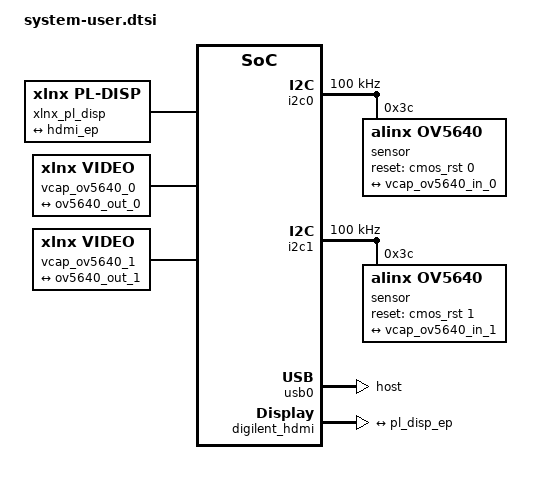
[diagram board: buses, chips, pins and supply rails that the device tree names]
/include/ "system-conf.dtsi"
/ {


};

&i2c0 {
	clock-frequency = <100000>;
	sensor@3c{
		compatible = "alinx,ov5640";
		reg = <0x3c>;
		#address-cells = <1>;
		#size-cells = <0>;
		reset-gpios = <&cmos_rst 0 0>;
		port@0 {
			reg = <0>;
			ov5640_out_0: endpoint {
				remote-endpoint = <&vcap_ov5640_in_0>;
			};
		};
	};
};

&i2c1 {
	clock-frequency = <100000>;
	sensor@3c{
		compatible = "alinx,ov5640";
		reg = <0x3c>;
		#address-cells = <1>;
		#size-cells = <0>;
		reset-gpios = <&cmos_rst 1 0>;
		port@0 {
			reg = <0>;
			ov5640_out_1: endpoint {
				remote-endpoint = <&vcap_ov5640_in_1>;
			};
		};
	};
};

&usb0 {	
	dr_mode = "host";

};


&amba_pl {

	digilent_hdmi {
		compatible = "ax_7511,drm-encoder";

		clocks = <&axi_dynclk_0>;
		clock-names = "clk";

		digilent,edid-i2c = <&i2c0>;
		digilent,fmax = <150000>;
		
		port@0 {
			#address-cells = <1>;
			#size-cells = <0>;

			hdmi_ep: endpoint {
				remote-endpoint = <&pl_disp_ep>;
			};
		};
	};
	
	xlnx_pl_disp {
		compatible = "xlnx,pl-disp";
		dmas = <&axi_vdma_0 0>;
		dma-names = "dma0";

		xlnx,vformat = "RG24";
		xlnx,bridge = <&v_tc_0>;

		port@0 {
			reg = <0>;
			pl_disp_ep: endpoint {
				remote-endpoint = <&hdmi_ep>;
			};
		};
	};

	vcap_ov5640_0 {
		compatible = "xlnx,video";
		dmas = <&axi_vdma_1 0>;
		dma-names = "port0";

		ports {
			#address-cells = <1>;
			#size-cells = <0>;

			port@0 {
				reg = <0>;
				direction = "input";
				vcap_ov5640_in_0: endpoint {
					remote-endpoint = <&ov5640_out_0>;
				};

			};
		};
	};

	vcap_ov5640_1 {
		compatible = "xlnx,video";
		dmas = <&axi_vdma_2 0>;
		dma-names = "port0";

		ports {
			#address-cells = <1>;
			#size-cells = <0>;

			port@0 {
				reg = <0>;
				direction = "input";
				vcap_ov5640_in_1: endpoint {
					remote-endpoint = <&ov5640_out_1>;
				};

			};
		};
	};
	
};

&axi_dynclk_0 {
	compatible = "dglnt,axi-dynclk";
	#clock-cells = <0>;
	clocks = <&clkc 15>;
};
&v_tc_0 {
	compatible = "xlnx,bridge-v-tc-6.1";
	xlnx,pixels-per-clock = <1>;
};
